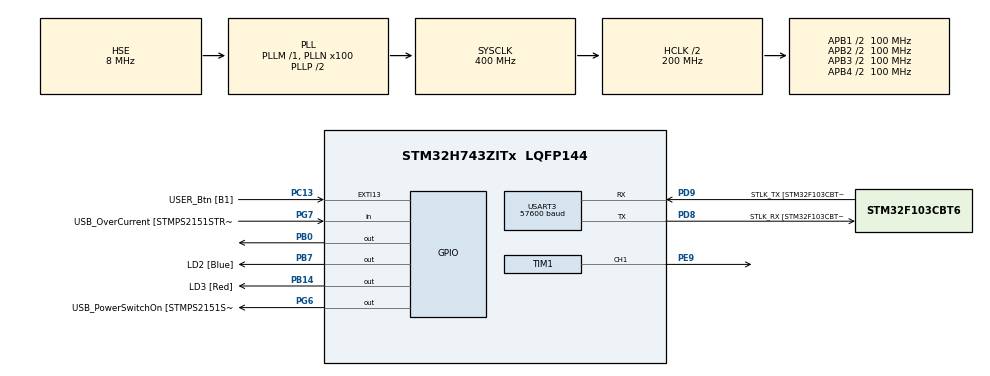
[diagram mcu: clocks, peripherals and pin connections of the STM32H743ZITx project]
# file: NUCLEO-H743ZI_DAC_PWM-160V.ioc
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Dma.Request0=TIM1_CH1
Dma.TIM1_CH1.0.Direction=DMA_PERIPH_TO_MEMORY
Dma.TIM1_CH1.0.EventEnable=DISABLE
Dma.TIM1_CH1.0.FIFOMode=DMA_FIFOMODE_DISABLE
Dma.TIM1_CH1.0.Instance=DMA1_Stream0
Dma.TIM1_CH1.0.MemDataAlignment=DMA_MDATAALIGN_HALFWORD
Dma.TIM1_CH1.0.MemInc=DMA_MINC_ENABLE
Dma.TIM1_CH1.0.Mode=DMA_CIRCULAR
Dma.TIM1_CH1.0.PeriphDataAlignment=DMA_PDATAALIGN_HALFWORD
Dma.TIM1_CH1.0.PeriphInc=DMA_PINC_DISABLE
Dma.TIM1_CH1.0.Polarity=HAL_DMAMUX_REQ_GEN_RISING
Dma.TIM1_CH1.0.Priority=DMA_PRIORITY_MEDIUM
Dma.TIM1_CH1.0.RequestNumber=1
Dma.TIM1_CH1.0.SignalID=NONE
Dma.TIM1_CH1.0.SyncEnable=DISABLE
Dma.TIM1_CH1.0.SyncPolarity=HAL_DMAMUX_SYNC_NO_EVENT
Dma.TIM1_CH1.0.SyncRequestNumber=1
Dma.TIM1_CH1.0.SyncSignalID=NONE
Mcu.Family=STM32H7
Mcu.Name=STM32H743ZITx
Mcu.Package=LQFP144
NVIC.DMA1_Stream0_IRQn=true\:0\:0\:false\:false\:true\:false\:true\:true
NVIC.EXTI15_10_IRQn=true\:0\:0\:false\:false\:true\:true\:true\:true
NVIC.PriorityGroup=NVIC_PRIORITYGROUP_4
PA1.GPIO_Label=RMII_REF_CLK
PA1.Signal=ETH_REF_CLK
PA10.GPIO_Label=USB_ID
PA10.Signal=USB_OTG_FS_ID
PA11.GPIO_Label=USB_DM
PA11.Signal=USB_OTG_FS_DM
PA12.GPIO_Label=USB_DP
PA12.Signal=USB_OTG_FS_DP
PA13\ (JTMS/SWDIO).Mode=Trace_Asynchronous_SW
PA13\ (JTMS/SWDIO).Signal=DEBUG_JTMS-SWDIO
PA14\ (JTCK/SWCLK).Mode=Trace_Asynchronous_SW
PA14\ (JTCK/SWCLK).Signal=DEBUG_JTCK-SWCLK
PA2.GPIO_Label=RMII_MDIO
PA2.Signal=ETH_MDIO
PA7.GPIO_Label=RMII_CRS_DV
PA7.Signal=ETH_CRS_DV
PA8.GPIO_Label=USB_SOF [TP1]
PA8.Signal=USB_OTG_FS_SOF
PA9.GPIO_Label=USB_VBUS
PA9.Signal=USB_OTG_FS_VBUS
PB0.Signal=GPIO_Output
PB13.GPIO_Label=RMII_TXD1
PB13.Signal=ETH_TXD1
PB14.GPIO_Label=LD3 [Red]
PB14.Signal=GPIO_Output
PB3\ (JTDO/TRACESWO).Mode=Trace_Asynchronous_SW
PB3\ (JTDO/TRACESWO).Signal=DEBUG_JTDO-SWO
PB7.GPIO_Label=LD2 [Blue]
PB7.Signal=GPIO_Output
PC1.GPIO_Label=RMII_MDC
PC1.Signal=ETH_MDC
PC13.GPIO_Label=USER_Btn [B1]
PC13.Signal=GPXTI13
PC14-OSC32_IN\ (OSC32_IN).Mode=LSE-External-Oscillator
PC14-OSC32_IN\ (OSC32_IN).Signal=RCC_OSC32_IN
PC15-OSC32_OUT\ (OSC32_OUT).Mode=LSE-External-Oscillator
PC15-OSC32_OUT\ (OSC32_OUT).Signal=RCC_OSC32_OUT
PC4.GPIO_Label=RMII_RXD0
PC4.Signal=ETH_RXD0
PC5.GPIO_Label=RMII_RXD1
PC5.Signal=ETH_RXD1
PD8.GPIO_Label=STLK_RX [STM32F103CBT6_PA3]
PD8.Mode=Asynchronous
PD8.Signal=USART3_TX
PD9.GPIO_Label=STLK_TX [STM32F103CBT6_PA2]
PD9.Mode=Asynchronous
PD9.Signal=USART3_RX
PE9.Signal=S_TIM1_CH1
PG11.GPIO_Label=RMII_TX_EN
PG11.Signal=ETH_TX_EN
PG13.GPIO_Label=RMII_TXD0
PG13.Signal=ETH_TXD0
PG6.GPIO_Label=USB_PowerSwitchOn [STMPS2151STR_EN]
PG6.Signal=GPIO_Output
PG7.GPIO_Label=USB_OverCurrent [STMPS2151STR_FAULT]
PG7.Signal=GPIO_Input
PH0-OSC_IN\ (PH0).GPIO_Label=MCO
PH0-OSC_IN\ (PH0).Mode=HSE-External-Clock-Source
PH0-OSC_IN\ (PH0).Signal=RCC_OSC_IN
PH1-OSC_OUT\ (PH1).Signal=RCC_OSC_OUT
ProjectManager.HeapSize=0x200
ProjectManager.StackSize=0x400
ProjectManager.TargetToolchain=STM32CubeIDE
RCC.48MHZClocksFreq_Value=24000000
RCC.ADCFreq_Value=16125000
RCC.AHBFreq_Value=216000000
RCC.APB1CLKDivider=RCC_HCLK_DIV4
RCC.APB1Freq_Value=100000000
RCC.APB1TimFreq_Value=108000000
RCC.APB2CLKDivider=RCC_HCLK_DIV2
RCC.APB2Freq_Value=100000000
RCC.APB2TimFreq_Value=216000000
RCC.APB3Freq_Value=100000000
RCC.APB4Freq_Value=100000000
RCC.CortexFreq_Value=400000000
RCC.D1PPRE=RCC_APB3_DIV2
RCC.D2PPRE1=RCC_APB1_DIV2
RCC.D2PPRE2=RCC_APB2_DIV2
RCC.D3PPRE=RCC_APB4_DIV2
RCC.DIVM1=1
RCC.DIVN1=100
RCC.DIVQ1=4
RCC.HCLKFreq_Value=200000000
RCC.HPRE=RCC_HCLK_DIV2
RCC.HSE_VALUE=8000000
RCC.HSI_VALUE=64000000
RCC.PLLM=25
RCC.PLLMUL=RCC_PLL_MUL9
RCC.PLLN=432
RCC.PLLQ=9
RCC.PLLSourceVirtual=RCC_PLLSOURCE_HSE
RCC.PRESCALERUSB=RCC_USBCLKSOURCE_PLL_DIV1_5
RCC.PWR_Regulator_Voltage_Scale=PWR_REGULATOR_VOLTAGE_SCALE1
RCC.SYSCLKFreq_VALUE=400000000
RCC.SYSCLKSource=RCC_SYSCLKSOURCE_PLLCLK
RCC.SYSCLKSourceVirtual=RCC_SYSCLKSOURCE_PLLCLK
RCC.USBCLockSelection=RCC_USBCLKSOURCE_HSI48
RCC.USBFreq_Value=48000000
RCC.VCOOutputFreq_Value=432000000
SH.S_TIM1_CH1.0=TIM1_CH1,PWM Generation1 CH1
TIM1.AutoReloadPreload=TIM_AUTORELOAD_PRELOAD_DISABLE
TIM1.Channel-PWM\ Generation1\ CH1=TIM_CHANNEL_1
TIM1.Period=1000-1
TIM1.Prescaler=20-1
USART3.BaudRate=57600
USART3.VirtualMode-Asynchronous=VM_ASYNC
board=NUCLEO-H743ZI

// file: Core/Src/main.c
/* USER CODE BEGIN Header */
/**
 ******************************************************************************
 * @file           : main.c
 * @brief          : Main program body
 ******************************************************************************
 * @attention
 *
 * Copyright (c) 2022 STMicroelectronics.
 * All rights reserved.
 *
 * This software is licensed under terms that can be found in the LICENSE file
 * in the root directory of this software component.
 * If no LICENSE file comes with this software, it is provided AS-IS.
 *
 ******************************************************************************
 */
/* USER CODE END Header */
#include "main.h"

/* USER CODE BEGIN Includes */

#include <stdio.h> // add in main.c

/* USER CODE END Includes */

TIM_HandleTypeDef htim1;
DMA_HandleTypeDef hdma_tim1_ch1;

UART_HandleTypeDef huart3;

/* USER CODE BEGIN PV */

// for 0V - 160V variable output PWM
volatile uint16_t duty_cycle = 0;
uint16_t duty_cycle_increase = 0;
uint16_t duty_cycle_target = 0;

// push button
uint8_t button_pressed = 0;

/* USER CODE END PV */

void SystemClock_Config(void);
static void MX_GPIO_Init(void);
static void MX_USART3_UART_Init(void);
static void MX_DMA_Init(void);
static void MX_TIM1_Init(void);

int main(void)
{

  /* MCU Configuration--------------------------------------------------------*/

  /* Reset of all peripherals, Initializes the Flash interface and the Systick. */
  HAL_Init();

  /* Configure the system clock */
  SystemClock_Config();

  /* Initialize all configured peripherals */
  MX_GPIO_Init();
  MX_USART3_UART_Init();
  MX_DMA_Init();
  MX_TIM1_Init();
  /* USER CODE BEGIN 2 */

	printf("Starting >> NUCLEO-H743ZI_DAC_PWM-160V \n");

	// Opto duty cycle by DMA
	duty_cycle = 00; // div by 10
	if (HAL_TIM_PWM_Start_DMA(&htim1, TIM_CHANNEL_1, (uint32_t *) &duty_cycle, 1) != HAL_OK)
	{
		/* PWM Generation Error */
		while(1)
		{
			HAL_Delay(100);
			HAL_GPIO_TogglePin(GPIOB, GPIO_PIN_7);
		}
	}

	printf("Ending >> NUCLEO-H743ZI_DAC_PWM-160V \n");

  /* USER CODE END 2 */

  /* Infinite loop */
  /* USER CODE BEGIN WHILE */
	while (1)
	{

		HAL_GPIO_TogglePin(GPIOB, GPIO_PIN_0);
		HAL_GPIO_TogglePin(GPIOB, GPIO_PIN_7);
		HAL_GPIO_TogglePin(GPIOB, GPIO_PIN_14);
		HAL_Delay(50);
		if (button_pressed)
		{
			if (duty_cycle == 0)
			{
				duty_cycle_increase = 1; //duty_cycle + 10; // div by 10; // div by 10
				HAL_Delay(4000);
			}
			if (duty_cycle == 1000)
			{
				duty_cycle_increase = 0;
				HAL_Delay(4000);
			}
			if (duty_cycle_increase)
				duty_cycle = duty_cycle + 1;
			else
				duty_cycle = duty_cycle - 1;
			if (duty_cycle_target == duty_cycle)
				button_pressed = 0;
		}

    /* USER CODE END WHILE */

	}
}

void SystemClock_Config(void)
{
  RCC_OscInitTypeDef RCC_OscInitStruct = {0};
  RCC_ClkInitTypeDef RCC_ClkInitStruct = {0};

  /** Supply configuration update enable
  */
  HAL_PWREx_ConfigSupply(PWR_LDO_SUPPLY);

  /** Configure the main internal regulator output voltage
  */
  __HAL_PWR_VOLTAGESCALING_CONFIG(PWR_REGULATOR_VOLTAGE_SCALE1);

  while(!__HAL_PWR_GET_FLAG(PWR_FLAG_VOSRDY)) {}

  /** Initializes the RCC Oscillators according to the specified parameters
  * in the RCC_OscInitTypeDef structure.
  */
  RCC_OscInitStruct.OscillatorType = RCC_OSCILLATORTYPE_HSE;
  RCC_OscInitStruct.HSEState = RCC_HSE_BYPASS;
  RCC_OscInitStruct.PLL.PLLState = RCC_PLL_ON;
  RCC_OscInitStruct.PLL.PLLSource = RCC_PLLSOURCE_HSE;
  RCC_OscInitStruct.PLL.PLLM = 1;
  RCC_OscInitStruct.PLL.PLLN = 100;
  RCC_OscInitStruct.PLL.PLLP = 2;
  RCC_OscInitStruct.PLL.PLLQ = 4;
  RCC_OscInitStruct.PLL.PLLR = 2;
  RCC_OscInitStruct.PLL.PLLRGE = RCC_PLL1VCIRANGE_3;
  RCC_OscInitStruct.PLL.PLLVCOSEL = RCC_PLL1VCOWIDE;
  RCC_OscInitStruct.PLL.PLLFRACN = 0;
  if (HAL_RCC_OscConfig(&RCC_OscInitStruct) != HAL_OK)
  {
    Error_Handler();
  }

  /** Initializes the CPU, AHB and APB buses clocks
  */
  RCC_ClkInitStruct.ClockType = RCC_CLOCKTYPE_HCLK|RCC_CLOCKTYPE_SYSCLK
                              |RCC_CLOCKTYPE_PCLK1|RCC_CLOCKTYPE_PCLK2
                              |RCC_CLOCKTYPE_D3PCLK1|RCC_CLOCKTYPE_D1PCLK1;
  RCC_ClkInitStruct.SYSCLKSource = RCC_SYSCLKSOURCE_PLLCLK;
  RCC_ClkInitStruct.SYSCLKDivider = RCC_SYSCLK_DIV1;
  RCC_ClkInitStruct.AHBCLKDivider = RCC_HCLK_DIV2;
  RCC_ClkInitStruct.APB3CLKDivider = RCC_APB3_DIV2;
  RCC_ClkInitStruct.APB1CLKDivider = RCC_APB1_DIV2;
  RCC_ClkInitStruct.APB2CLKDivider = RCC_APB2_DIV2;
  RCC_ClkInitStruct.APB4CLKDivider = RCC_APB4_DIV2;

  if (HAL_RCC_ClockConfig(&RCC_ClkInitStruct, FLASH_LATENCY_2) != HAL_OK)
  {
    Error_Handler();
  }
}

static void MX_TIM1_Init(void)
{

  TIM_MasterConfigTypeDef sMasterConfig = {0};
  TIM_OC_InitTypeDef sConfigOC = {0};
  TIM_BreakDeadTimeConfigTypeDef sBreakDeadTimeConfig = {0};

  htim1.Instance = TIM1;
  htim1.Init.Prescaler = 20-1;
  htim1.Init.CounterMode = TIM_COUNTERMODE_UP;
  htim1.Init.Period = 1000-1;
  htim1.Init.ClockDivision = TIM_CLOCKDIVISION_DIV1;
  htim1.Init.RepetitionCounter = 0;
  htim1.Init.AutoReloadPreload = TIM_AUTORELOAD_PRELOAD_DISABLE;
  if (HAL_TIM_PWM_Init(&htim1) != HAL_OK)
  {
    Error_Handler();
  }
  sMasterConfig.MasterOutputTrigger = TIM_TRGO_RESET;
  sMasterConfig.MasterOutputTrigger2 = TIM_TRGO2_RESET;
  sMasterConfig.MasterSlaveMode = TIM_MASTERSLAVEMODE_DISABLE;
  if (HAL_TIMEx_MasterConfigSynchronization(&htim1, &sMasterConfig) != HAL_OK)
  {
    Error_Handler();
  }
  sConfigOC.OCMode = TIM_OCMODE_PWM1;
  sConfigOC.Pulse = 0;
  sConfigOC.OCPolarity = TIM_OCPOLARITY_HIGH;
  sConfigOC.OCNPolarity = TIM_OCNPOLARITY_HIGH;
  sConfigOC.OCFastMode = TIM_OCFAST_DISABLE;
  sConfigOC.OCIdleState = TIM_OCIDLESTATE_RESET;
  sConfigOC.OCNIdleState = TIM_OCNIDLESTATE_RESET;
  if (HAL_TIM_PWM_ConfigChannel(&htim1, &sConfigOC, TIM_CHANNEL_1) != HAL_OK)
  {
    Error_Handler();
  }
  sBreakDeadTimeConfig.OffStateRunMode = TIM_OSSR_DISABLE;
  sBreakDeadTimeConfig.OffStateIDLEMode = TIM_OSSI_DISABLE;
  sBreakDeadTimeConfig.LockLevel = TIM_LOCKLEVEL_OFF;
  sBreakDeadTimeConfig.DeadTime = 0;
  sBreakDeadTimeConfig.BreakState = TIM_BREAK_DISABLE;
  sBreakDeadTimeConfig.BreakPolarity = TIM_BREAKPOLARITY_HIGH;
  sBreakDeadTimeConfig.BreakFilter = 0;
  sBreakDeadTimeConfig.Break2State = TIM_BREAK2_DISABLE;
  sBreakDeadTimeConfig.Break2Polarity = TIM_BREAK2POLARITY_HIGH;
  sBreakDeadTimeConfig.Break2Filter = 0;
  sBreakDeadTimeConfig.AutomaticOutput = TIM_AUTOMATICOUTPUT_DISABLE;
  if (HAL_TIMEx_ConfigBreakDeadTime(&htim1, &sBreakDeadTimeConfig) != HAL_OK)
  {
    Error_Handler();
  }
  HAL_TIM_MspPostInit(&htim1);

}

static void MX_USART3_UART_Init(void)
{

  huart3.Instance = USART3;
  huart3.Init.BaudRate = 57600;
  huart3.Init.WordLength = UART_WORDLENGTH_8B;
  huart3.Init.StopBits = UART_STOPBITS_1;
  huart3.Init.Parity = UART_PARITY_NONE;
  huart3.Init.Mode = UART_MODE_TX_RX;
  huart3.Init.HwFlowCtl = UART_HWCONTROL_NONE;
  huart3.Init.OverSampling = UART_OVERSAMPLING_16;
  huart3.Init.OneBitSampling = UART_ONE_BIT_SAMPLE_DISABLE;
  huart3.Init.ClockPrescaler = UART_PRESCALER_DIV1;
  huart3.AdvancedInit.AdvFeatureInit = UART_ADVFEATURE_NO_INIT;
  if (HAL_UART_Init(&huart3) != HAL_OK)
  {
    Error_Handler();
  }
  if (HAL_UARTEx_SetTxFifoThreshold(&huart3, UART_TXFIFO_THRESHOLD_1_8) != HAL_OK)
  {
    Error_Handler();
  }
  if (HAL_UARTEx_SetRxFifoThreshold(&huart3, UART_RXFIFO_THRESHOLD_1_8) != HAL_OK)
  {
    Error_Handler();
  }
  if (HAL_UARTEx_DisableFifoMode(&huart3) != HAL_OK)
  {
    Error_Handler();
  }

}

static void MX_DMA_Init(void)
{

  /* DMA controller clock enable */
  __HAL_RCC_DMA1_CLK_ENABLE();

  /* DMA interrupt init */
  /* DMA1_Stream0_IRQn interrupt configuration */
  HAL_NVIC_SetPriority(DMA1_Stream0_IRQn, 0, 0);
  HAL_NVIC_EnableIRQ(DMA1_Stream0_IRQn);

}

static void MX_GPIO_Init(void)
{
  GPIO_InitTypeDef GPIO_InitStruct = {0};

  /* GPIO Ports Clock Enable */
  __HAL_RCC_GPIOC_CLK_ENABLE();
  __HAL_RCC_GPIOH_CLK_ENABLE();
  __HAL_RCC_GPIOA_CLK_ENABLE();
  __HAL_RCC_GPIOB_CLK_ENABLE();
  __HAL_RCC_GPIOE_CLK_ENABLE();
  __HAL_RCC_GPIOD_CLK_ENABLE();
  __HAL_RCC_GPIOG_CLK_ENABLE();

  /*Configure GPIO pin Output Level */
  HAL_GPIO_WritePin(GPIOB, GPIO_PIN_0|LD3_Pin|LD2_Pin, GPIO_PIN_RESET);

  /*Configure GPIO pin Output Level */
  HAL_GPIO_WritePin(USB_PowerSwitchOn_GPIO_Port, USB_PowerSwitchOn_Pin, GPIO_PIN_RESET);

  /*Configure GPIO pin : USER_Btn_Pin */
  GPIO_InitStruct.Pin = USER_Btn_Pin;
  GPIO_InitStruct.Mode = GPIO_MODE_IT_RISING;
  GPIO_InitStruct.Pull = GPIO_NOPULL;
  HAL_GPIO_Init(USER_Btn_GPIO_Port, &GPIO_InitStruct);

  /*Configure GPIO pins : RMII_MDC_Pin RMII_RXD0_Pin RMII_RXD1_Pin */
  GPIO_InitStruct.Pin = RMII_MDC_Pin|RMII_RXD0_Pin|RMII_RXD1_Pin;
  GPIO_InitStruct.Mode = GPIO_MODE_AF_PP;
  GPIO_InitStruct.Pull = GPIO_NOPULL;
  GPIO_InitStruct.Speed = GPIO_SPEED_FREQ_LOW;
  GPIO_InitStruct.Alternate = GPIO_AF11_ETH;
  HAL_GPIO_Init(GPIOC, &GPIO_InitStruct);

  /*Configure GPIO pins : RMII_REF_CLK_Pin RMII_MDIO_Pin RMII_CRS_DV_Pin */
  GPIO_InitStruct.Pin = RMII_REF_CLK_Pin|RMII_MDIO_Pin|RMII_CRS_DV_Pin;
  GPIO_InitStruct.Mode = GPIO_MODE_AF_PP;
  GPIO_InitStruct.Pull = GPIO_NOPULL;
  GPIO_InitStruct.Speed = GPIO_SPEED_FREQ_LOW;
  GPIO_InitStruct.Alternate = GPIO_AF11_ETH;
  HAL_GPIO_Init(GPIOA, &GPIO_InitStruct);

  /*Configure GPIO pins : PB0 LD3_Pin LD2_Pin */
  GPIO_InitStruct.Pin = GPIO_PIN_0|LD3_Pin|LD2_Pin;
  GPIO_InitStruct.Mode = GPIO_MODE_OUTPUT_PP;
  GPIO_InitStruct.Pull = GPIO_NOPULL;
  GPIO_InitStruct.Speed = GPIO_SPEED_FREQ_LOW;
  HAL_GPIO_Init(GPIOB, &GPIO_InitStruct);

  /*Configure GPIO pin : RMII_TXD1_Pin */
  GPIO_InitStruct.Pin = RMII_TXD1_Pin;
  GPIO_InitStruct.Mode = GPIO_MODE_AF_PP;
  GPIO_InitStruct.Pull = GPIO_NOPULL;
  GPIO_InitStruct.Speed = GPIO_SPEED_FREQ_LOW;
  GPIO_InitStruct.Alternate = GPIO_AF11_ETH;
  HAL_GPIO_Init(RMII_TXD1_GPIO_Port, &GPIO_InitStruct);

  /*Configure GPIO pin : USB_PowerSwitchOn_Pin */
  GPIO_InitStruct.Pin = USB_PowerSwitchOn_Pin;
  GPIO_InitStruct.Mode = GPIO_MODE_OUTPUT_PP;
  GPIO_InitStruct.Pull = GPIO_NOPULL;
  GPIO_InitStruct.Speed = GPIO_SPEED_FREQ_LOW;
  HAL_GPIO_Init(USB_PowerSwitchOn_GPIO_Port, &GPIO_InitStruct);

  /*Configure GPIO pin : USB_OverCurrent_Pin */
  GPIO_InitStruct.Pin = USB_OverCurrent_Pin;
  GPIO_InitStruct.Mode = GPIO_MODE_INPUT;
  GPIO_InitStruct.Pull = GPIO_NOPULL;
  HAL_GPIO_Init(USB_OverCurrent_GPIO_Port, &GPIO_InitStruct);

  /*Configure GPIO pins : USB_SOF_Pin USB_ID_Pin USB_DM_Pin USB_DP_Pin */
  GPIO_InitStruct.Pin = USB_SOF_Pin|USB_ID_Pin|USB_DM_Pin|USB_DP_Pin;
  GPIO_InitStruct.Mode = GPIO_MODE_AF_PP;
  GPIO_InitStruct.Pull = GPIO_NOPULL;
  GPIO_InitStruct.Speed = GPIO_SPEED_FREQ_LOW;
  GPIO_InitStruct.Alternate = GPIO_AF10_OTG1_FS;
  HAL_GPIO_Init(GPIOA, &GPIO_InitStruct);

  /*Configure GPIO pins : RMII_TX_EN_Pin RMII_TXD0_Pin */
  GPIO_InitStruct.Pin = RMII_TX_EN_Pin|RMII_TXD0_Pin;
  GPIO_InitStruct.Mode = GPIO_MODE_AF_PP;
  GPIO_InitStruct.Pull = GPIO_NOPULL;
  GPIO_InitStruct.Speed = GPIO_SPEED_FREQ_LOW;
  GPIO_InitStruct.Alternate = GPIO_AF11_ETH;
  HAL_GPIO_Init(GPIOG, &GPIO_InitStruct);

  /* EXTI interrupt init*/
  HAL_NVIC_SetPriority(EXTI15_10_IRQn, 0, 0);
  HAL_NVIC_EnableIRQ(EXTI15_10_IRQn);

}

/* USER CODE BEGIN 4 */

void HAL_GPIO_EXTI_Callback(uint16_t GPIO_Pin)
{
	/* Prevent unused argument(s) compilation warning */
	UNUSED(GPIO_Pin);

	/* NOTE: This function should not be modified, when the callback is needed,
           the HAL_GPIO_EXTI_Callback could be implemented in the user file
	 */

	button_pressed = 1;
	if (duty_cycle_increase)
		duty_cycle_target += 5;
	else
		duty_cycle_target -= 5;

}
/* USER CODE END 4 */

void Error_Handler(void)
{
	__disable_irq();
	while (1)
	{
	}
}
